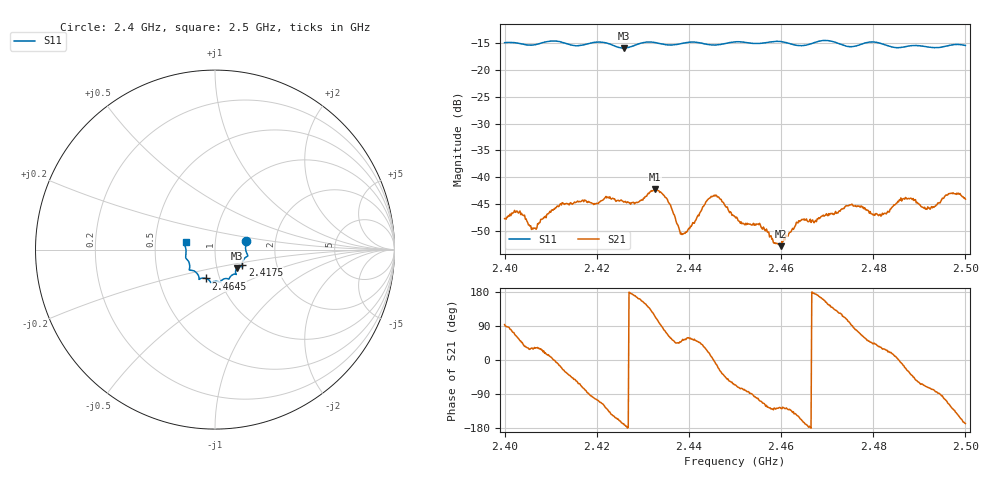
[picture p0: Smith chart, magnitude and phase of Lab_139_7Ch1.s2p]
# Hz S RI R 50
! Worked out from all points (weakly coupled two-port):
!   601 points, 2.4 GHz to 2.5 GHz, reference 50 ohm
!   highest |S21| = -42.30 dB at 2.4327 GHz (marker M1); lowest = -52.9 dB at 2.46 GHz (marker M2)
!   lowest |S11| = -15.9 dB at 2.4258 GHz (marker M3), VSWR 1.38, Z = 62.3 - j13.3 ohm
!   |S11| at or under -10 dB: start of sweep to end of sweep
!   S12 and S22 are empty: the file has one direction only
!   S11 on the Smith chart (normalised r, x): 2.4 GHz: 1.41, +0.14; 2.4175 GHz: 1.34, -0.23; 2.4645 GHz: 0.86, -0.28; 2.5 GHz: 0.72, +0.06
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2.4e9  0.173 0.0488  -0.000243 0.00409  0 0  0 0
2.402833e9  0.1745 0.0355  0.00243 0.00405  0 0  0 0
2.406333e9  0.1714 -0.00205  0.00288 0.00171  0 0  0 0
2.412e9  0.18 -0.0373  0.00537 -0.00145  0 0  0 0
2.416667e9  0.1528 -0.0741  0.00213 -0.00555  0 0  0 0
2.4175e9  0.1517 -0.0835  0.00108 -0.00598  0 0  0 0
2.425833e9  0.122 -0.1036  -0.00572 -0.00121  0 0  0 0
2.432667e9  0.1161 -0.1376  -0.00316 0.00699  0 0  0 0
2.433333e9  0.1131 -0.1369  -0.00154 0.00731  0 0  0 0
2.4355e9  0.0984 -0.1401  0.00246 0.00532  0 0  0 0
2.438667e9  0.0809 -0.1579  0.00171 0.00239  0 0  0 0
2.445333e9  0.0531 -0.1624  0.00665 4.48e-05  0 0  0 0
2.45e9  0.0289 -0.1808  0.00178 -0.00387  0 0  0 0
2.46e9  -0.0241 -0.1824  -0.00139 -0.00179  0 0  0 0
2.4645e9  -0.0516 -0.1605  -0.00377 -0.00143  0 0  0 0
2.466667e9  -0.0758 -0.1596  -0.00392 2.76e-05  0 0  0 0
2.475e9  -0.1061 -0.1262  -0.000648 0.00547  0 0  0 0
2.483333e9  -0.1408 -0.0902  0.00435 0.00183  0 0  0 0
2.486833e9  -0.1543 -0.0569  0.00584 -0.00213  0 0  0 0
2.491833e9  -0.1617 -0.0267  0.00161 -0.00503  0 0  0 0
2.496833e9  -0.1686 0.026  -0.00384 -0.0059  0 0  0 0
2.5e9  -0.1637 0.0428  -0.00608 -0.00136  0 0  0 0
